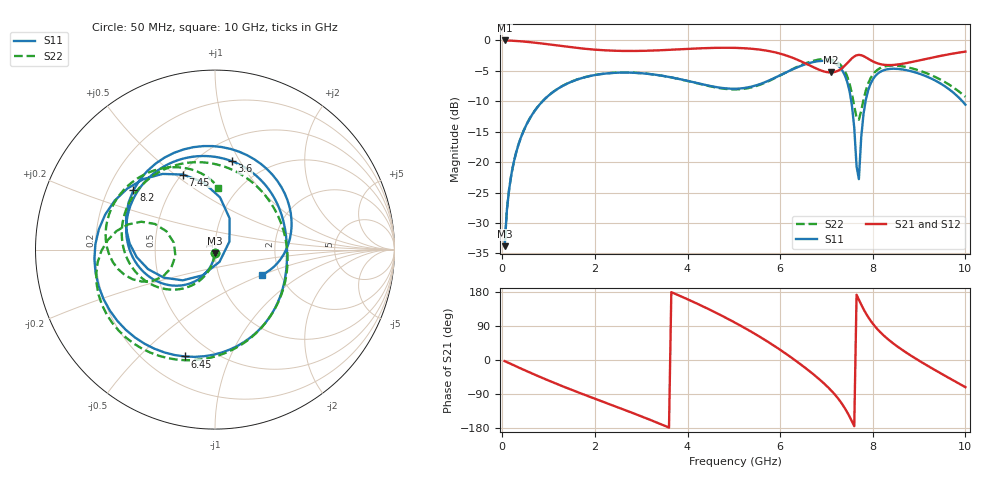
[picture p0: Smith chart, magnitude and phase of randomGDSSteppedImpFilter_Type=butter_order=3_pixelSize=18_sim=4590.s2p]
! freq	dB(S11)	phase(S11)	dB(S12)	phase(S12)
!  dB(S21)	phase(S21)	dB(S22)	phase(S22)
!S-par simulation data
#  GHz  S  DB  R 50
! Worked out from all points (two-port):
!   200 points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, 50 MHz to 10 GHz, reference 50 ohm
!   highest |S21| = 0.00 dB at 50 MHz (marker M1); lowest = -5.3 dB at 7.1 GHz (marker M2)
!   |S21| within 3 dB of the highest: start of sweep to 6.32 GHz; 9.17 GHz to end of sweep (the widest 2 of 3)
!   lowest |S11| = -33.8 dB at 50 MHz (marker M3), VSWR 1.04, Z = 49.9 - j2.03 ohm
!   |S11| at or under -10 dB: start of sweep to 869.5 MHz; 7.535 GHz to 7.845 GHz (309.5 MHz wide, 4.02 % of centre); 9.936 GHz to end of sweep
!   |S22| runs from -33.8 to -3.1 dB; largest |S21 - S12| = 0
!   S11 on the Smith chart (normalised r, x): 50 MHz: 1.00, -0.04; 3.6 GHz: 0.70, +0.93; 6.45 GHz: 0.36, -0.69; 7.45 GHz: 0.51, +0.54; 8.2 GHz: 0.31, +0.30; 10 GHz: 1.61, -0.50
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0.05  -33.80 -93.0  -0.00 -2.8  -0.00 -2.8  -33.79 -92.7
0.2  -21.83 -102.3  -0.04 -11.3  -0.04 -11.3  -21.82 -101.0
0.5  -14.18 -120.1  -0.21 -27.9  -0.21 -27.9  -14.17 -116.8
1.1  -8.45 -153.5  -0.75 -59.3  -0.75 -59.3  -8.44 -146.2
1.75  -6.11 172.9  -1.34 -90.6  -1.34 -90.6  -6.10 -175.3
3.4  -5.74 89.8  -1.62 -168.2  -1.62 -168.2  -5.74 113.4
3.6  -6.00 79.2  -1.55 -178.4  -1.55 -178.4  -6.00 103.8
4.3  -7.17 41.1  -1.29 143.4  -1.29 143.4  -7.21 66.1
5.05  -7.93 -0.0  -1.22 97.0  -1.22 97.0  -8.04 15.0
5.85  -6.27 -51.8  -1.89 39.1  -1.89 39.1  -6.33 -50.2
6.45  -4.17 -105.7  -3.43 -12.2  -3.43 -12.2  -4.06 -100.8
6.7  -3.58 -132.4  -4.33 -35.9  -4.33 -35.9  -3.38 -122.2
7.1  -3.52 177.4  -5.26 -80.2  -5.26 -80.2  -3.15 -158.6
7.45  -6.85 113.1  -3.71 -138.4  -3.71 -138.4  -5.94 163.9
7.6  -14.33 64.9  -2.63 -174.7  -2.63 -174.7  -10.79 159.4
7.7  -22.79 -69.6  -2.37 159.0  -2.37 159.0  -13.02 -171.0
7.85  -9.75 -151.3  -2.78 123.4  -2.78 123.4  -8.23 -153.3
8.2  -5.01 144.0  -3.95 68.9  -3.95 68.9  -4.41 179.0
8.35  -4.70 124.6  -4.05 52.6  -4.05 52.6  -4.15 168.1
8.7  -4.84 86.2  -3.76 21.4  -3.76 21.4  -4.34 146.5
9.2  -6.04 38.8  -2.95 -16.4  -2.95 -16.4  -5.50 120.7
10  -10.55 -28.3  -1.84 -71.7  -1.84 -71.7  -9.27 87.0
